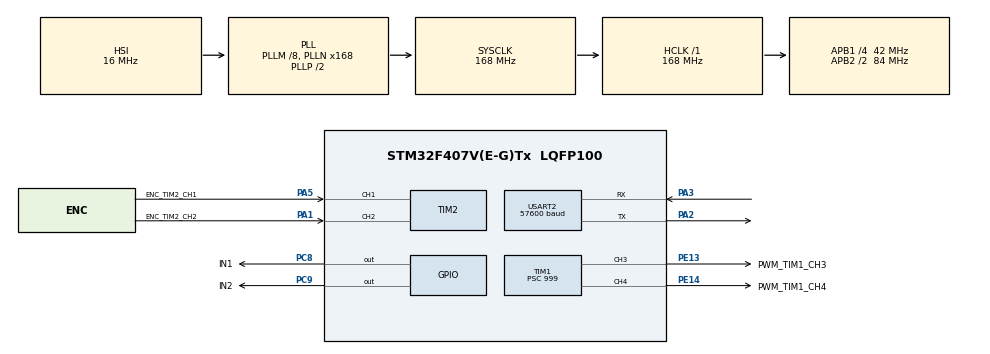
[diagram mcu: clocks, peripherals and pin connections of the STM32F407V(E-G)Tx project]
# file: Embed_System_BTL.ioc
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Dma.Request0=USART2_RX
Dma.Request1=USART2_TX
Dma.USART2_RX.0.Direction=DMA_PERIPH_TO_MEMORY
Dma.USART2_RX.0.FIFOMode=DMA_FIFOMODE_ENABLE
Dma.USART2_RX.0.FIFOThreshold=DMA_FIFO_THRESHOLD_FULL
Dma.USART2_RX.0.Instance=DMA1_Stream5
Dma.USART2_RX.0.MemBurst=DMA_MBURST_SINGLE
Dma.USART2_RX.0.MemDataAlignment=DMA_MDATAALIGN_BYTE
Dma.USART2_RX.0.MemInc=DMA_MINC_ENABLE
Dma.USART2_RX.0.Mode=DMA_NORMAL
Dma.USART2_RX.0.PeriphBurst=DMA_PBURST_SINGLE
Dma.USART2_RX.0.PeriphDataAlignment=DMA_PDATAALIGN_BYTE
Dma.USART2_RX.0.PeriphInc=DMA_PINC_DISABLE
Dma.USART2_RX.0.Priority=DMA_PRIORITY_LOW
Dma.USART2_TX.1.Direction=DMA_MEMORY_TO_PERIPH
Dma.USART2_TX.1.FIFOMode=DMA_FIFOMODE_DISABLE
Dma.USART2_TX.1.Instance=DMA1_Stream6
Dma.USART2_TX.1.MemDataAlignment=DMA_MDATAALIGN_BYTE
Dma.USART2_TX.1.MemInc=DMA_MINC_ENABLE
Dma.USART2_TX.1.Mode=DMA_NORMAL
Dma.USART2_TX.1.PeriphDataAlignment=DMA_PDATAALIGN_BYTE
Dma.USART2_TX.1.PeriphInc=DMA_PINC_DISABLE
Dma.USART2_TX.1.Priority=DMA_PRIORITY_LOW
Mcu.Family=STM32F4
Mcu.Name=STM32F407V(E-G)Tx
Mcu.Package=LQFP100
NVIC.DMA1_Stream5_IRQn=true\:0\:0\:false\:false\:true\:false\:true\:true
NVIC.DMA1_Stream6_IRQn=true\:0\:0\:false\:false\:true\:false\:true\:true
NVIC.PriorityGroup=NVIC_PRIORITYGROUP_4
NVIC.TIM3_IRQn=true\:0\:0\:false\:false\:true\:true\:true\:true
NVIC.USART2_IRQn=true\:0\:0\:false\:false\:true\:true\:true\:true
PA0-WKUP.Mode=SYS_WakeUp0
PA0-WKUP.Signal=SYS_WKUP
PA1.GPIO_Label=ENC_TIM2_CH2
PA1.Signal=S_TIM2_CH2
PA13.Mode=Serial_Wire
PA13.Signal=SYS_JTMS-SWDIO
PA14.Mode=Serial_Wire
PA14.Signal=SYS_JTCK-SWCLK
PA2.Mode=Asynchronous
PA2.Signal=USART2_TX
PA3.Mode=Asynchronous
PA3.Signal=USART2_RX
PA5.GPIO_Label=ENC_TIM2_CH1
PA5.Signal=S_TIM2_CH1_ETR
PC8.GPIO_Label=IN1
PC8.Signal=GPIO_Output
PC9.GPIO_Label=IN2
PC9.Signal=GPIO_Output
PE13.GPIO_Label=PWM_TIM1_CH3
PE13.Signal=S_TIM1_CH3
PE14.GPIO_Label=PWM_TIM1_CH4
PE14.Signal=S_TIM1_CH4
PH0-OSC_IN.Mode=HSE-External-Oscillator
PH0-OSC_IN.Signal=RCC_OSC_IN
PH1-OSC_OUT.Mode=HSE-External-Oscillator
PH1-OSC_OUT.Signal=RCC_OSC_OUT
ProjectManager.HeapSize=0x200
ProjectManager.StackSize=0x400
ProjectManager.TargetToolchain=STM32CubeIDE
RCC.48MHZClocksFreq_Value=84000000
RCC.AHBFreq_Value=168000000
RCC.APB1CLKDivider=RCC_HCLK_DIV4
RCC.APB1Freq_Value=42000000
RCC.APB1TimFreq_Value=84000000
RCC.APB2CLKDivider=RCC_HCLK_DIV2
RCC.APB2Freq_Value=84000000
RCC.APB2TimFreq_Value=168000000
RCC.CortexFreq_Value=168000000
RCC.HCLKFreq_Value=168000000
RCC.HSE_VALUE=25000000
RCC.HSI_VALUE=16000000
RCC.LSE_VALUE=32768
RCC.PLLM=8
RCC.PLLN=168
RCC.SYSCLKFreq_VALUE=168000000
RCC.SYSCLKSource=RCC_SYSCLKSOURCE_PLLCLK
RCC.VCOOutputFreq_Value=336000000
SH.S_TIM1_CH3.0=TIM1_CH3,PWM Generation3 CH3
SH.S_TIM1_CH4.0=TIM1_CH4,PWM Generation4 CH4
SH.S_TIM2_CH1_ETR.0=TIM2_CH1,Encoder_Interface
SH.S_TIM2_CH2.0=TIM2_CH2,Encoder_Interface
TIM1.Channel-PWM\ Generation3\ CH3=TIM_CHANNEL_3
TIM1.Channel-PWM\ Generation4\ CH4=TIM_CHANNEL_4
TIM1.Period=1679
TIM1.Prescaler=999
TIM2.EncoderMode=TIM_ENCODERMODE_TI12
TIM3.Period=1679
TIM3.Prescaler=999
USART2.BaudRate=57600
USART2.VirtualMode=VM_ASYNC
VP_TIM3_VS_ClockSourceINT.Mode=Internal
board=custom

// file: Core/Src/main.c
/* USER CODE BEGIN Header */
/**
  ******************************************************************************
  * @file           : main.c
  * @brief          : Main program body
  ******************************************************************************
  * @attention
  *
  * Copyright (c) 2023 STMicroelectronics.
  * All rights reserved.
  *
  * This software is licensed under terms that can be found in the LICENSE file
  * in the root directory of this software component.
  * If no LICENSE file comes with this software, it is provided AS-IS.
  *
  ******************************************************************************
  */
/* USER CODE END Header */
#include "main.h"

/* USER CODE BEGIN Includes */
#include <stdbool.h>
#include <stdlib.h>
#include <stdio.h>
#include <string.h>
#include "crc16.h"
#include "encoder.h"
#include "PID.h"
#include "PWM.h"
#include "uart_proto.h"
/* USER CODE END Includes */

TIM_HandleTypeDef htim1;
TIM_HandleTypeDef htim2;
TIM_HandleTypeDef htim3;

UART_HandleTypeDef huart2;
DMA_HandleTypeDef hdma_usart2_rx;
DMA_HandleTypeDef hdma_usart2_tx;

/* USER CODE BEGIN PV */

float output_pid, output_pid_velo, output_pid_posi;
float error_posi = 0, pre_error_posi = 0;
float error_velo = 0, pre_error_velo = 0;
float now_position, velocity_real, number_rotation;
float Kp_true, Ki_true, Kd_true;
float setpointQt = 0;

uint8_t transmittedData[10];
uint8_t lastTransmittedData;
float now_position1 = 1;
uint8_t checkModeFromQt = 0;
uint8_t count_PID = 0;
uint8_t countUpdate = 0;
uint8_t check_status;
uint8_t data_rx = 0;
uint8_t data_uart[50] = {0};
uint8_t data_after_cut[PROTO_DATA_SIZE_RX];
uint8_t uart_count = 0;
uint16_t frame_tx_lenght;
uint16_t get_data_lenght;

bool count_PID_position_first_time = true;
bool data_check = true;
bool flag_motor= false;   //enable motor if flag is true
bool uart_flag = false;

typedef enum
{
  Select_Velo,
  Select_Posi,
} Select_Tune;
typedef enum
{
  Select_PID1 = 2,
  Select_PID2,
} Select_PID;
Select_PID choose_PID;
typedef enum
{
	MODE_POSI = 1,
	MODE_VELO,
} Select_mode_Qt;
typedef enum
{
	PARA_K = 0x11,
	SET_POSI = 0x22,
	SET_VELO = 0x33,
	RESETT = 0x44,
	ENABLEE = 0x55,
	CHOOSE = 0x88,
} Para_from_Qt;

uart_proto_handle_t uart_handle;
instance_encoder instance_enc;
PID_control PID_contr;

/* USER CODE END PV */

void SystemClock_Config(void);
static void MX_GPIO_Init(void);
static void MX_DMA_Init(void);
static void MX_TIM1_Init(void);
static void MX_TIM3_Init(void);
static void MX_TIM2_Init(void);
static void MX_USART2_UART_Init(void);

/* USER CODE BEGIN 0 */
void tune_PID_after1(Select_Tune select);
void tune_PID_after2(Select_Tune select);
void send_data_to_Qt();
void condition_of_flag();

/* USER CODE END 0 */

int main(void)
{

  /* MCU Configuration--------------------------------------------------------*/

  /* Reset of all peripherals, Initializes the Flash interface and the Systick. */
  HAL_Init();

  /* Configure the system clock */
  SystemClock_Config();

  /* Initialize all configured peripherals */
  MX_GPIO_Init();
  MX_DMA_Init();
  MX_TIM1_Init();
  MX_TIM3_Init();
  MX_TIM2_Init();
  MX_USART2_UART_Init();
  /* USER CODE BEGIN 2 */
  HAL_TIM_Encoder_Start(&htim2, TIM_CHANNEL_ALL);
  HAL_TIM_Base_Start_IT(&htim3);
  HAL_TIM_PWM_Start(&htim1, TIM_CHANNEL_3);
  HAL_UART_Receive_IT(&huart2, &data_rx, 1);   // 57600!
  /* USER CODE END 2 */

  /* Infinite loop */
  /* USER CODE BEGIN WHILE */
  while (1)
  {
	  data_check = true;
	  if (uart_flag == true)
	      {
	        memset(data_after_cut, 0, sizeof(data_after_cut));
	        memcpy(uart_handle.au8RxBuffer, (uint8_t *)data_uart, uart_count);
	        check_status = UART_get_data(uart_handle.au8RxBuffer, uart_count, data_after_cut, &get_data_lenght); // After this function data_after_cut will contain the data bytes of Kp Ki Kd                                                                                                           //     char message[] = {0};
	        if (check_status == no_valid || check_status == false_CRC ||
	        	check_status == buffer_small || check_status == false_lenght_data)
	        {
	          data_check = false;
	        }
	        if (data_check == true)
	        {
	        	condition_of_flag();
	        }
	        memset(data_uart, 0, uart_count);
	        uart_flag = false;
	        uart_count = 0;
	      }

    /* USER CODE END WHILE */

  }
}

void SystemClock_Config(void)
{
  RCC_OscInitTypeDef RCC_OscInitStruct = {0};
  RCC_ClkInitTypeDef RCC_ClkInitStruct = {0};

  /** Configure the main internal regulator output voltage
  */
  __HAL_RCC_PWR_CLK_ENABLE();
  __HAL_PWR_VOLTAGESCALING_CONFIG(PWR_REGULATOR_VOLTAGE_SCALE1);

  /** Initializes the RCC Oscillators according to the specified parameters
  * in the RCC_OscInitTypeDef structure.
  */
  RCC_OscInitStruct.OscillatorType = RCC_OSCILLATORTYPE_HSI;
  RCC_OscInitStruct.HSIState = RCC_HSI_ON;
  RCC_OscInitStruct.HSICalibrationValue = RCC_HSICALIBRATION_DEFAULT;
  RCC_OscInitStruct.PLL.PLLState = RCC_PLL_ON;
  RCC_OscInitStruct.PLL.PLLSource = RCC_PLLSOURCE_HSI;
  RCC_OscInitStruct.PLL.PLLM = 8;
  RCC_OscInitStruct.PLL.PLLN = 168;
  RCC_OscInitStruct.PLL.PLLP = RCC_PLLP_DIV2;
  RCC_OscInitStruct.PLL.PLLQ = 4;
  if (HAL_RCC_OscConfig(&RCC_OscInitStruct) != HAL_OK)
  {
    Error_Handler();
  }

  /** Initializes the CPU, AHB and APB buses clocks
  */
  RCC_ClkInitStruct.ClockType = RCC_CLOCKTYPE_HCLK|RCC_CLOCKTYPE_SYSCLK
                              |RCC_CLOCKTYPE_PCLK1|RCC_CLOCKTYPE_PCLK2;
  RCC_ClkInitStruct.SYSCLKSource = RCC_SYSCLKSOURCE_PLLCLK;
  RCC_ClkInitStruct.AHBCLKDivider = RCC_SYSCLK_DIV1;
  RCC_ClkInitStruct.APB1CLKDivider = RCC_HCLK_DIV4;
  RCC_ClkInitStruct.APB2CLKDivider = RCC_HCLK_DIV2;

  if (HAL_RCC_ClockConfig(&RCC_ClkInitStruct, FLASH_LATENCY_5) != HAL_OK)
  {
    Error_Handler();
  }
}

static void MX_TIM1_Init(void)
{

  TIM_MasterConfigTypeDef sMasterConfig = {0};
  TIM_OC_InitTypeDef sConfigOC = {0};
  TIM_BreakDeadTimeConfigTypeDef sBreakDeadTimeConfig = {0};

  htim1.Instance = TIM1;
  htim1.Init.Prescaler = 999;
  htim1.Init.CounterMode = TIM_COUNTERMODE_UP;
  htim1.Init.Period = 1679;
  htim1.Init.ClockDivision = TIM_CLOCKDIVISION_DIV1;
  htim1.Init.RepetitionCounter = 0;
  htim1.Init.AutoReloadPreload = TIM_AUTORELOAD_PRELOAD_DISABLE;
  if (HAL_TIM_PWM_Init(&htim1) != HAL_OK)
  {
    Error_Handler();
  }
  sMasterConfig.MasterOutputTrigger = TIM_TRGO_RESET;
  sMasterConfig.MasterSlaveMode = TIM_MASTERSLAVEMODE_DISABLE;
  if (HAL_TIMEx_MasterConfigSynchronization(&htim1, &sMasterConfig) != HAL_OK)
  {
    Error_Handler();
  }
  sConfigOC.OCMode = TIM_OCMODE_PWM1;
  sConfigOC.Pulse = 0;
  sConfigOC.OCPolarity = TIM_OCPOLARITY_HIGH;
  sConfigOC.OCNPolarity = TIM_OCNPOLARITY_HIGH;
  sConfigOC.OCFastMode = TIM_OCFAST_DISABLE;
  sConfigOC.OCIdleState = TIM_OCIDLESTATE_RESET;
  sConfigOC.OCNIdleState = TIM_OCNIDLESTATE_RESET;
  if (HAL_TIM_PWM_ConfigChannel(&htim1, &sConfigOC, TIM_CHANNEL_3) != HAL_OK)
  {
    Error_Handler();
  }
  if (HAL_TIM_PWM_ConfigChannel(&htim1, &sConfigOC, TIM_CHANNEL_4) != HAL_OK)
  {
    Error_Handler();
  }
  sBreakDeadTimeConfig.OffStateRunMode = TIM_OSSR_DISABLE;
  sBreakDeadTimeConfig.OffStateIDLEMode = TIM_OSSI_DISABLE;
  sBreakDeadTimeConfig.LockLevel = TIM_LOCKLEVEL_OFF;
  sBreakDeadTimeConfig.DeadTime = 0;
  sBreakDeadTimeConfig.BreakState = TIM_BREAK_DISABLE;
  sBreakDeadTimeConfig.BreakPolarity = TIM_BREAKPOLARITY_HIGH;
  sBreakDeadTimeConfig.AutomaticOutput = TIM_AUTOMATICOUTPUT_DISABLE;
  if (HAL_TIMEx_ConfigBreakDeadTime(&htim1, &sBreakDeadTimeConfig) != HAL_OK)
  {
    Error_Handler();
  }
  HAL_TIM_MspPostInit(&htim1);

}

static void MX_TIM2_Init(void)
{

  TIM_Encoder_InitTypeDef sConfig = {0};
  TIM_MasterConfigTypeDef sMasterConfig = {0};

  htim2.Instance = TIM2;
  htim2.Init.Prescaler = 0;
  htim2.Init.CounterMode = TIM_COUNTERMODE_UP;
  htim2.Init.Period = 4294967295;
  htim2.Init.ClockDivision = TIM_CLOCKDIVISION_DIV1;
  htim2.Init.AutoReloadPreload = TIM_AUTORELOAD_PRELOAD_DISABLE;
  sConfig.EncoderMode = TIM_ENCODERMODE_TI12;
  sConfig.IC1Polarity = TIM_ICPOLARITY_RISING;
  sConfig.IC1Selection = TIM_ICSELECTION_DIRECTTI;
  sConfig.IC1Prescaler = TIM_ICPSC_DIV1;
  sConfig.IC1Filter = 0;
  sConfig.IC2Polarity = TIM_ICPOLARITY_RISING;
  sConfig.IC2Selection = TIM_ICSELECTION_DIRECTTI;
  sConfig.IC2Prescaler = TIM_ICPSC_DIV1;
  sConfig.IC2Filter = 0;
  if (HAL_TIM_Encoder_Init(&htim2, &sConfig) != HAL_OK)
  {
    Error_Handler();
  }
  sMasterConfig.MasterOutputTrigger = TIM_TRGO_RESET;
  sMasterConfig.MasterSlaveMode = TIM_MASTERSLAVEMODE_DISABLE;
  if (HAL_TIMEx_MasterConfigSynchronization(&htim2, &sMasterConfig) != HAL_OK)
  {
    Error_Handler();
  }

}

static void MX_TIM3_Init(void)
{

  TIM_ClockConfigTypeDef sClockSourceConfig = {0};
  TIM_MasterConfigTypeDef sMasterConfig = {0};

  htim3.Instance = TIM3;
  htim3.Init.Prescaler = 999;
  htim3.Init.CounterMode = TIM_COUNTERMODE_UP;
  htim3.Init.Period = 1679;
  htim3.Init.ClockDivision = TIM_CLOCKDIVISION_DIV1;
  htim3.Init.AutoReloadPreload = TIM_AUTORELOAD_PRELOAD_DISABLE;
  if (HAL_TIM_Base_Init(&htim3) != HAL_OK)
  {
    Error_Handler();
  }
  sClockSourceConfig.ClockSource = TIM_CLOCKSOURCE_INTERNAL;
  if (HAL_TIM_ConfigClockSource(&htim3, &sClockSourceConfig) != HAL_OK)
  {
    Error_Handler();
  }
  sMasterConfig.MasterOutputTrigger = TIM_TRGO_RESET;
  sMasterConfig.MasterSlaveMode = TIM_MASTERSLAVEMODE_DISABLE;
  if (HAL_TIMEx_MasterConfigSynchronization(&htim3, &sMasterConfig) != HAL_OK)
  {
    Error_Handler();
  }

}

static void MX_USART2_UART_Init(void)
{

  huart2.Instance = USART2;
  huart2.Init.BaudRate = 57600;
  huart2.Init.WordLength = UART_WORDLENGTH_8B;
  huart2.Init.StopBits = UART_STOPBITS_1;
  huart2.Init.Parity = UART_PARITY_NONE;
  huart2.Init.Mode = UART_MODE_TX_RX;
  huart2.Init.HwFlowCtl = UART_HWCONTROL_NONE;
  huart2.Init.OverSampling = UART_OVERSAMPLING_16;
  if (HAL_UART_Init(&huart2) != HAL_OK)
  {
    Error_Handler();
  }

}

static void MX_DMA_Init(void)
{

  /* DMA controller clock enable */
  __HAL_RCC_DMA1_CLK_ENABLE();

  /* DMA interrupt init */
  /* DMA1_Stream5_IRQn interrupt configuration */
  HAL_NVIC_SetPriority(DMA1_Stream5_IRQn, 0, 0);
  HAL_NVIC_EnableIRQ(DMA1_Stream5_IRQn);
  /* DMA1_Stream6_IRQn interrupt configuration */
  HAL_NVIC_SetPriority(DMA1_Stream6_IRQn, 0, 0);
  HAL_NVIC_EnableIRQ(DMA1_Stream6_IRQn);

}

static void MX_GPIO_Init(void)
{
  GPIO_InitTypeDef GPIO_InitStruct = {0};

  /* GPIO Ports Clock Enable */
  __HAL_RCC_GPIOH_CLK_ENABLE();
  __HAL_RCC_GPIOA_CLK_ENABLE();
  __HAL_RCC_GPIOE_CLK_ENABLE();
  __HAL_RCC_GPIOC_CLK_ENABLE();

  /*Configure GPIO pin Output Level */
  HAL_GPIO_WritePin(GPIOC, IN1_Pin|IN2_Pin, GPIO_PIN_RESET);

  /*Configure GPIO pins : IN1_Pin IN2_Pin */
  GPIO_InitStruct.Pin = IN1_Pin|IN2_Pin;
  GPIO_InitStruct.Mode = GPIO_MODE_OUTPUT_PP;
  GPIO_InitStruct.Pull = GPIO_NOPULL;
  GPIO_InitStruct.Speed = GPIO_SPEED_FREQ_LOW;
  HAL_GPIO_Init(GPIOC, &GPIO_InitStruct);

}

/* USER CODE BEGIN 4 */
void tune_PID_after1(Select_Tune select)
{
  switch (select)
  {
  case Select_Posi:
    control_PID_Position(&PID_contr, setpointQt, Kp_true, Ki_true, Kd_true);
    output_pid = output_pid_posi;
    PWM_control_position(&htim1, output_pid);
    break;
  case Select_Velo:
    control_PID_Velocity(&PID_contr, setpointQt, Kp_true, Ki_true, Kd_true);
    output_pid = output_pid_velo;
    PWM_control_velocity(&htim1, output_pid);
    break;
  default:
    break;
  }
}

void tune_PID_after2(Select_Tune select)
{
  switch (select)
  {
  case Select_Posi:
    if (count_PID_position_first_time == true)
    {
      control_PID_Position(&PID_contr, setpointQt, Kp_true, Ki_true, Kd_true);      // in degrees, calculated at the first time the engine has been run only once
      control_PID_Velocity(&PID_contr, output_pid_posi, Kp_true, Ki_true, Kd_true); // setpoint speed equal output position
      output_pid = output_pid_velo;
      PWM_control_position(&htim1, output_pid);
      count_PID_position_first_time = false;
      break;
    }
    if (count_PID == 3) // 3 times speed PID -> 1 time position PID
    {
      control_PID_Position(&PID_contr, setpointQt, Kp_true, Ki_true, Kd_true);      // recalculate new output_pid_posi
      control_PID_Velocity(&PID_contr, output_pid_posi, Kp_true, Ki_true, Kd_true); // setpoint speed equal output position
      output_pid = output_pid_velo;
      PWM_control_position(&htim1, output_pid);
      count_PID = 0;
      break;
    }
    else if (count_PID != 3)
    {
      control_PID_Velocity(&PID_contr, output_pid_posi, Kp_true, Ki_true, Kd_true); // setpoint speed equal output position
      output_pid = output_pid_velo;
      PWM_control_position(&htim1, output_pid);
      break;
    }
  case Select_Velo:
    control_PID_Velocity(&PID_contr, setpointQt, Kp_true, Ki_true, Kd_true);
    output_pid = output_pid_velo; // uniformity to output_pid for easy control
    PWM_control_velocity(&htim1, output_pid);
    break;
  default:
    break;
  }
}

void send_data_to_Qt()
{
  if (checkModeFromQt == MODE_POSI && flag_motor == true)
  {
    char float_to_char[sizeof(float)];
    char mode = 0x66;
    memcpy(float_to_char, &now_position, sizeof(float));
    uint8_t *array_data;
    array_data = (uint8_t *)malloc(5);
    uint8_t index = 0;
    memcpy(array_data + index, &mode, 1); // Mode 0x66, if 0x66 ->position
    index += 1;
    memcpy(array_data + index, float_to_char, 4);

    UART_frame_data(array_data, PROTO_DATA_SIZE_TX, uart_handle.au8TxBuffer, &frame_tx_lenght);
    HAL_UART_Transmit_DMA(&huart2, uart_handle.au8TxBuffer, frame_tx_lenght);
    free(array_data);
  }
  else if (checkModeFromQt == MODE_VELO && flag_motor == true)
  {
    char float_to_char[sizeof(float)];
    char mode = 0x77;
    memcpy(float_to_char, &velocity_real, sizeof(float));
    uint8_t *array_data;
    array_data = (uint8_t *)malloc(5);
    uint8_t index = 0;
    memcpy(array_data + index, &mode, 1); // Mode 0x77, if 0x77 ->velocity
    index += 1;
    memcpy(array_data + index, float_to_char, 4);
    UART_frame_data(array_data, PROTO_DATA_SIZE_TX, uart_handle.au8TxBuffer, &frame_tx_lenght);
    HAL_UART_Transmit_DMA(&huart2, uart_handle.au8TxBuffer, frame_tx_lenght);
    free(array_data);
  }
}

void HAL_TIM_PeriodElapsedCallback(TIM_HandleTypeDef *htim)
{
  if (htim->Instance == TIM3)
  {
    encoder();
  }
  if (checkModeFromQt == MODE_POSI && flag_motor == true && choose_PID == Select_PID1)
  {
    tune_PID_after1(Select_Posi);
  }
  else if (checkModeFromQt == MODE_VELO && flag_motor == true && choose_PID == Select_PID1)
  {
    tune_PID_after1(Select_Velo);
  }

  else if (checkModeFromQt == MODE_POSI && flag_motor == true && choose_PID == Select_PID2)
  {
        count_PID++;
    tune_PID_after2(Select_Posi);
  }
  else if (checkModeFromQt == MODE_VELO && flag_motor == true && choose_PID == Select_PID2)
  {
    tune_PID_after2(Select_Velo);
  }
  send_data_to_Qt();
}

void HAL_UART_RxCpltCallback(UART_HandleTypeDef *huart)
{
  if (huart->Instance == USART2)
  {
    if (data_rx == PROTO_END_BYTE)
    {
      data_uart[uart_count++] = data_rx;
      uart_flag = true; // complete
    }
    else
    {
      data_uart[uart_count] = data_rx;
      uart_count++;
    }
    HAL_UART_Receive_IT(&huart2, (uint8_t *)&data_rx, 1);
  }
}

void condition_of_flag()
{
	while (1) // if in here <=> receive right data
	  {
		if (data_after_cut[0] == SET_POSI) //
		{
		  setpointQt = *((float *)(data_after_cut + 1));
		  checkModeFromQt = MODE_POSI; // position
		  break;
		}
		else if (data_after_cut[0] == SET_VELO) //
		{
		  setpointQt = *((float *)(data_after_cut + 1));
		  checkModeFromQt = MODE_VELO; // velocity
		  break;
		}
		else if (data_after_cut[0] == ENABLEE)
		{
		  flag_motor = true;
		  break;
		}
		else if (data_after_cut[0] == PARA_K)
		{
		  Kp_true = *((float *)(data_after_cut + 1));
		  Ki_true = *((float *)(data_after_cut + 5));
		  Kd_true = *((float *)(data_after_cut + 9));
		  break;
		}
		else if (data_after_cut[0] == CHOOSE) // choose mode PID1 or PID2
		{
		  float floatData;
		  memcpy(&floatData, data_after_cut + 1, sizeof(float));
		  if (floatData == 1.0f)
		  {
			choose_PID = Select_PID1;
			break;
		  }
		  else if (floatData == 2.0f)
		  {
			choose_PID = Select_PID2;
			break;
		  }
		  else
		  {
			break;
		  }
		}
		else if (data_after_cut[0] == RESETT)
		{
		  Kp_true = Ki_true = Kd_true = 0; // Reset
		  htim2.Instance->CNT = 0;
		  instance_enc.position = 0;
		  instance_enc.speed_by_encoder = 0;
		  setpointQt = 0;
		  if (checkModeFromQt == MODE_POSI)
		  {
			control_PID_Position(&PID_contr, setpointQt, Kp_true, Ki_true, Kd_true);
		  }
		  else if (checkModeFromQt == MODE_VELO)
		  {
			control_PID_Velocity(&PID_contr, setpointQt, Kp_true, Ki_true, Kd_true);
		  }
		  output_pid = 0;
		  HAL_GPIO_WritePin(IN1_GPIO_Port, IN1_Pin, GPIO_PIN_SET); // force silence motor and stop motor
		  HAL_GPIO_WritePin(IN2_GPIO_Port, IN2_Pin, GPIO_PIN_SET);
		  checkModeFromQt = 0;
		  flag_motor = false;
		  break;
		}
	  }
}

/* USER CODE END 4 */

void Error_Handler(void)
{
  __disable_irq();
  while (1)
  {
  }
}
